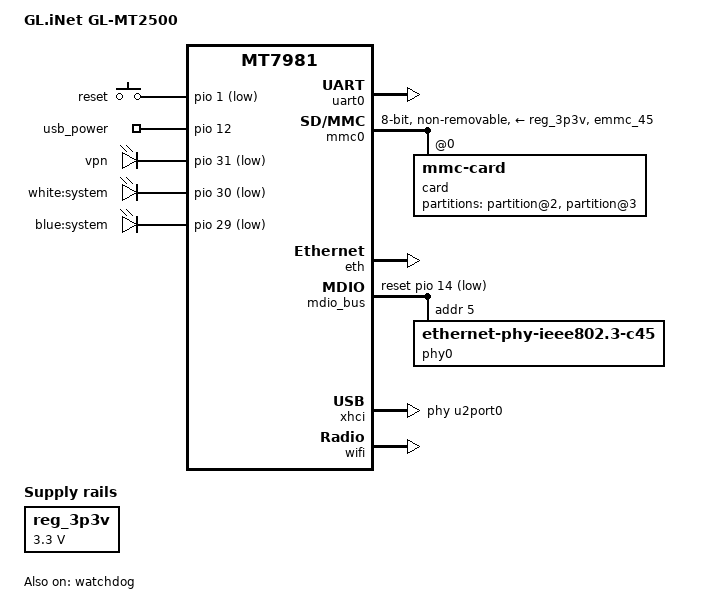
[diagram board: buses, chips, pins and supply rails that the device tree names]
/dts-v1/;
#include "mt7981.dtsi"
/ {
	model = "GL.iNet GL-MT2500";
	compatible = "glinet,mt2500-emmc", "mediatek,mt7981";

	chosen {
		bootargs = "earlycon=uart8250,mmio32,0x11002000 console=ttyS0,115200n1 swiotlb=512";
		stdout-path = "serial0:115200n8";
	};

	reserved-memory {
		/delete-node/ wo-ilm@151e0000;
		/delete-node/ wo-dlm@151e8000;
		/delete-node/ wo-boot@15194000;
	};

	aliases {
		led-boot = &led_blue;
		led-failsafe = &led_blue;
		led-running = &led_white;
		led-upgrade = &led_blue;
		serial0 = &uart0;
	};

	reg_3p3v: regulator-3p3v {
		compatible = "regulator-fixed";
		regulator-name = "fixed-3.3V";
		regulator-min-microvolt = <3300000>;
		regulator-max-microvolt = <3300000>;
		regulator-boot-on;
		regulator-always-on;
	};

	gpio-keys {
		compatible = "gpio-keys";

		reset {
			label = "reset";
			linux,code = <KEY_RESTART>;
			gpios = <&pio 1 GPIO_ACTIVE_LOW>;
		};
	};

	gpio-export {
		compatible = "gpio-export";

		usb_power {
			gpio-export,name = "usb_power";
			gpio-export,output = <1>;
			gpios = <&pio 12 GPIO_ACTIVE_HIGH>;
		};
	};

	leds {
		compatible = "gpio-leds";

		led@0 {
			label = "vpn";
			gpios = <&pio 31 GPIO_ACTIVE_LOW>;
		};

		led_white: led@1 {
			label = "white:system";
			gpios = <&pio 30 GPIO_ACTIVE_LOW>;
		};

		led_blue: led@2 {
			label = "blue:system";
			gpios = <&pio 29 GPIO_ACTIVE_LOW>;
			default-state = "on";
		};
	};
};

&uart0 {
	status = "okay";
};

&watchdog {
	status = "okay";
};

&mmc0 {
	pinctrl-names = "default", "state_uhs";
	pinctrl-0 = <&mmc0_pins_default>;
	pinctrl-1 = <&mmc0_pins_uhs>;
	bus-width = <8>;
	max-frequency = <52000000>;
	cap-mmc-highspeed;
	vmmc-supply = <&reg_3p3v>;
	non-removable;
	status = "okay";
	#address-cells = <1>;
	#size-cells = <0>;

	card@0 {
		compatible = "mmc-card";
		reg = <0>;

		block {
			partitions {
				#address-cells = <1>;
				#size-cells = <0>;

				partition@2 {
					reg = <2>;
					partname = "u-boot-env";
					compatible = "nvmem-cells";
				};

				partition@3 {
					reg = <3>;
					partname = "rf";
					compatible = "nvmem-cells";
				};
			};
		};

		boot1 {
			compatible = "nvmem-cells";

			nvmem-layout {
				compatible = "fixed-layout";
				#address-cells = <1>;
				#size-cells = <1>;

				macaddr: macaddr@a {
					compatible = "mac-base";
					reg = <0xa 0x6>;
					#nvmem-cell-cells = <1>;
				};

				ddns@10 {
					reg = <0x10 0x10>;
				};

				sn-bak@20 {
					reg = <0x20 0x10>;
				};

				sn@30 {
					reg = <0x30 0x10>;
				};

				country-code@88 {
					reg = <0x88 0x10>;
				};
			};
		};
	};
};

&eth {
	pinctrl-names = "default";
	pinctrl-0 = <&mdio_pins>;

	status = "okay";

	gmac0: mac@0 {
		compatible = "mediatek,eth-mac";
		reg = <0>;
		phy-mode = "2500base-x";
		phy-handle = <&phy0>;
		nvmem-cells = <&macaddr 0>;
		nvmem-cell-names = "mac-address";
	};

	gmac1: mac@1 {
		compatible = "mediatek,eth-mac";
		reg = <1>;
		phy-mode = "gmii";
		phy-handle = <&int_gbe_phy>;
		nvmem-cells = <&macaddr 1>;
		nvmem-cell-names = "mac-address";
	};
};

&mdio_bus {
	reset-gpios = <&pio 14 GPIO_ACTIVE_LOW>;
	reset-delay-us = <600>;
	reset-post-delay-us = <20000>;

	phy0: ethernet-phy@5 {
		reg = <5>;
		compatible = "ethernet-phy-ieee802.3-c45";
		phy-mode = "2500base-x";
	};
};

&pio {
	spic_pins: spi1-pins {
		mux {
			function = "spi";
			groups = "spi1_1";
		};
	};
	mmc0_pins_default: mmc0-pins-default {
		mux {
			function = "flash";
			groups = "emmc_45";
		};
	};
	mmc0_pins_uhs: mmc0-pins-uhs {
		mux {
			function = "flash";
			groups = "emmc_45";
		};
	};
};

&xhci {
	mediatek,u3p-dis-msk = <0x0>;
	phys = <&u2port0 PHY_TYPE_USB2>,
	       <&u3port0 PHY_TYPE_USB3>;
	status = "okay";
};

&wifi {
	/delete-property/ memory-region;
};

&consys {
	/delete-property/ memory-region;

	status = "disabled";
};

&wed {
	/delete-property/ memory-region;
	/delete-property/ memory-region-names;

	status = "disabled";
};
